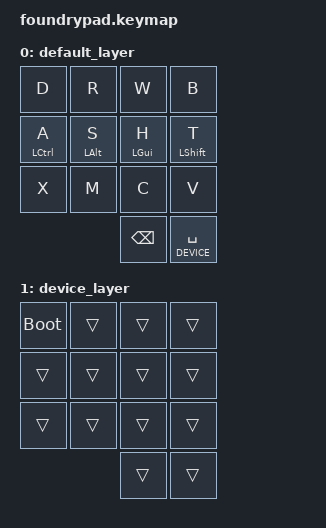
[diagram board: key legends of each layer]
#include <behaviors.dtsi>
#include <dt-bindings/zmk/keys.h>

#define DEVICE 1

/ {
    behaviors {
        hml: home_row_mod_left {
            compatible = "zmk,behavior-hold-tap";
            #binding-cells = <2>;
            flavor = "balanced";
            require-prior-idle-ms = <150>;
            tapping-term-ms = <280>;
            quick-tap-ms = <175>;
            bindings = <&kp>, <&kp>;
            hold-trigger-key-positions = < 4 5 6 7 >; // List of keys on the right side of the keyboard
            hold-trigger-on-release;
        };
    };

    combos {
        compatible = "zmk,combos";
        combo_esc {
            timeout-ms = <50>;
            key-positions = <0 1>;
            bindings = <&kp ESC>;
        };
    };

    keymap {
        compatible = "zmk,keymap";

        default_layer { // Layer 0
            // -------------------------------------
            // |     Z     |     M     |     K     |
            // |     A     |     B     |     C     |
            // |     D     |     E     |     F     |
            bindings = <
                &kp D    &kp R    &kp W  &kp B
                &hml LCTRL A    &hml LALT S    &hml LGUI H  &hml LSHFT T
                &kp X    &kp M    &kp C  &kp V
                                  &kp BSPC  &lt DEVICE SPACE
            >;
        };

        device_layer { // Layer 1
            // -------------------------------------
            // |     Z     |     M     |     K     |
            // |     A     |     B     |     C     |
            // |     D     |     E     |     F     |
            bindings = <
                &bootloader    &trans    &trans  &trans
                &trans    &trans    &trans  &trans
                &trans    &trans    &trans  &trans
                                  &trans  &trans
            >;
        };
    };
 };
